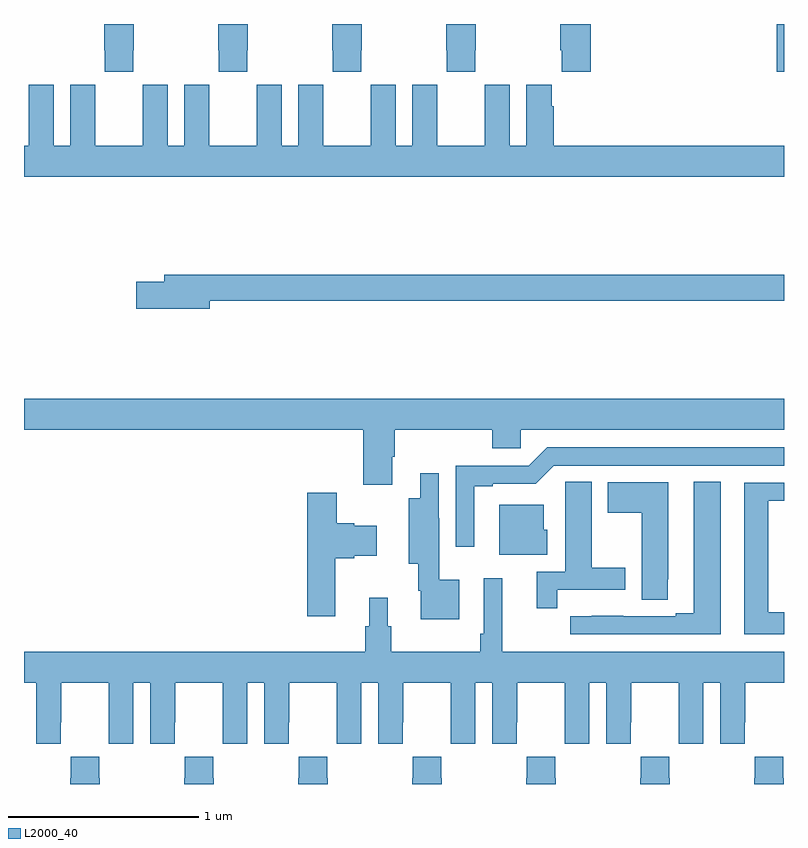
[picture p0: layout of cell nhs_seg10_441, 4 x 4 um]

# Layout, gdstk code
import gdstk
lib = gdstk.Library(unit=1e-6, precision=1e-09)
def R(c, l, rs):  # rectangles x0, y0, x1, y1
    for r in rs: c.add(gdstk.rectangle(r[:2], r[2:], *l))
def P(c, l, *ps):  # polygons
    for p in ps: c.add(gdstk.Polygon(p, *l))
L2000_40 = (2000, 40)

nhs_seg10_441 = lib.new_cell('nhs_seg10_441')
R(nhs_seg10_441, L2000_40, [(136.961,1254.249,137,1254.5)])
P(nhs_seg10_441, L2000_40, [(135.983,1254.5),(135.823,1254.5),(135.823,1254.361),(135.829,1254.361),(135.829,1254.249),(135.983,1254.249)],
  [(135.375,1254.361),(135.378,1254.361),(135.378,1254.5),(135.223,1254.5),(135.223,1254.361),(135.225,1254.361),(135.225,1254.249),(135.375,1254.249)],
  [(134.775,1254.361),(134.778,1254.361),(134.778,1254.5),(134.623,1254.5),(134.623,1254.361),(134.625,1254.361),(134.625,1254.249),(134.775,1254.249)],
  [(133.575,1254.361),(133.578,1254.361),(133.578,1254.5),(133.423,1254.5),(133.423,1254.361),(133.425,1254.361),(133.425,1254.249),(133.575,1254.249)],
  [(134.175,1254.361),(134.178,1254.361),(134.178,1254.5),(134.023,1254.5),(134.023,1254.361),(134.025,1254.361),(134.025,1254.249),(134.175,1254.249)],
  [(137,1253.86),(135.788,1253.86),(135.788,1254.068),(135.778,1254.068),(135.778,1254.181),(135.644,1254.181),(135.644,1253.86),(135.556,1253.86),(135.556,1254.181),(135.426,1254.181),(135.426,1254.068),(135.425,1254.068),(135.425,1253.86),(135.175,1253.86),(135.175,1254.068),(135.174,1254.068),(135.174,1254.181),(135.044,1254.181),(135.044,1253.86),(134.956,1253.86),(134.956,1254.181),(134.826,1254.181),(134.826,1254.068),(134.825,1254.068),(134.825,1253.86),(134.575,1253.86),(134.575,1254.068),(134.574,1254.068),(134.574,1254.181),(134.444,1254.181),(134.444,1253.86),(134.356,1253.86),(134.356,1254.181),(134.226,1254.181),(134.226,1254.068),(134.225,1254.068),(134.225,1253.86),(133.975,1253.86),(133.975,1254.068),(133.974,1254.068),(133.974,1254.181),(133.844,1254.181),(133.844,1253.86),(133.756,1253.86),(133.756,1254.181),(133.626,1254.181),(133.626,1254.068),(133.625,1254.068),(133.625,1253.86),(133.375,1253.86),(133.375,1254.068),(133.374,1254.068),(133.374,1254.181),(133.244,1254.181),(133.244,1253.86),(133.156,1253.86),(133.156,1254.181),(133.026,1254.181),(133.026,1254.068),(133.025,1254.068),(133.025,1253.86),(133,1253.86),(133,1253.696),(137,1253.696)],
  [(133.978,1253.044),(137,1253.044),(137,1253.18),(133.739,1253.18),(133.739,1253.144),(133.59,1253.144),(133.59,1253.002),(133.978,1253.002)],
  [(134.938,1252.222),(134.951,1252.222),(134.951,1252.364),(135.464,1252.364),(135.464,1252.266),(135.615,1252.266),(135.615,1252.364),(137,1252.364),(137,1252.528),(133,1252.528),(133,1252.364),(134.786,1252.364),(134.786,1252.074),(134.938,1252.074)],
  [(135.37,1252.068),(135.466,1252.068),(135.466,1252.08),(135.693,1252.08),(135.789,1252.176),(137,1252.176),(137,1252.272),(135.753,1252.272),(135.657,1252.176),(135.273,1252.176),(135.273,1251.75),(135.37,1251.75)],
  [(135.292,1251.574),(135.186,1251.574),(135.186,1251.899),(135.184,1251.899),(135.184,1252.135),(135.086,1252.135),(135.086,1252.003),(135.026,1252.003),(135.026,1251.659),(135.075,1251.659),(135.075,1251.518),(135.087,1251.518),(135.087,1251.368),(135.292,1251.368)],
  [(136.666,1252.091),(136.526,1252.091),(136.526,1251.399),(136.43,1251.399),(136.43,1251.384),(136.154,1251.384),(136.154,1251.385),(135.988,1251.385),(135.988,1251.384),(135.876,1251.384),(135.876,1251.288),(136.666,1251.288)],
  [(135.806,1251.522),(136.165,1251.522),(136.165,1251.639),(135.988,1251.639),(135.988,1252.091),(135.849,1252.091),(135.849,1251.98),(135.848,1251.98),(135.848,1251.618),(135.698,1251.618),(135.698,1251.426),(135.806,1251.426)],
  [(136.389,1251.577),(136.39,1251.577),(136.39,1252.087),(136.073,1252.087),(136.073,1251.928),(136.25,1251.928),(136.25,1251.469),(136.389,1251.469)],
  [(137,1251.404),(136.918,1251.404),(136.918,1251.99),(137,1251.99),(137,1252.086),(136.79,1252.086),(136.79,1251.288),(137,1251.288)],
  [(134.638,1251.689),(134.739,1251.689),(134.739,1251.701),(134.857,1251.701),(134.857,1251.859),(134.739,1251.859),(134.739,1251.872),(134.646,1251.872),(134.646,1252.033),(134.492,1252.033),(134.492,1251.384),(134.638,1251.384)],
  [(135.754,1251.837),(135.736,1251.837),(135.736,1251.97),(135.5,1251.97),(135.5,1251.707),(135.754,1251.707)],
  [(135.518,1251.583),(135.42,1251.583),(135.42,1251.292),(135.4,1251.292),(135.4,1251.196),(134.933,1251.196),(134.933,1251.33),(134.914,1251.33),(134.914,1251.481),(134.816,1251.481),(134.816,1251.33),(134.797,1251.33),(134.797,1251.196),(133,1251.196),(133,1251.032),(133.064,1251.032),(133.064,1250.712),(133.194,1250.712),(133.194,1250.824),(133.195,1250.824),(133.195,1251.032),(133.445,1251.032),(133.445,1250.824),(133.446,1250.824),(133.446,1250.712),(133.576,1250.712),(133.576,1251.032),(133.664,1251.032),(133.664,1250.712),(133.794,1250.712),(133.794,1250.824),(133.795,1250.824),(133.795,1251.032),(134.045,1251.032),(134.045,1250.824),(134.046,1250.824),(134.046,1250.712),(134.176,1250.712),(134.176,1251.032),(134.264,1251.032),(134.264,1250.712),(134.394,1250.712),(134.394,1250.824),(134.395,1250.824),(134.395,1251.032),(134.645,1251.032),(134.645,1250.824),(134.646,1250.824),(134.646,1250.712),(134.776,1250.712),(134.776,1251.032),(134.864,1251.032),(134.864,1250.712),(134.994,1250.712),(134.994,1250.824),(134.995,1250.824),(134.995,1251.032),(135.245,1251.032),(135.245,1250.824),(135.246,1250.824),(135.246,1250.712),(135.376,1250.712),(135.376,1251.032),(135.464,1251.032),(135.464,1250.712),(135.594,1250.712),(135.594,1250.824),(135.595,1250.824),(135.595,1251.032),(135.845,1251.032),(135.845,1250.824),(135.846,1250.824),(135.846,1250.712),(135.976,1250.712),(135.976,1251.032),(136.064,1251.032),(136.064,1250.712),(136.194,1250.712),(136.194,1250.824),(136.195,1250.824),(136.195,1251.032),(136.445,1251.032),(136.445,1250.824),(136.446,1250.824),(136.446,1250.712),(136.576,1250.712),(136.576,1251.032),(136.664,1251.032),(136.664,1250.712),(136.794,1250.712),(136.794,1250.824),(136.795,1250.824),(136.795,1251.032),(137,1251.032),(137,1251.196),(135.518,1251.196)],
  [(133.398,1250.531),(133.395,1250.531),(133.395,1250.644),(133.245,1250.644),(133.245,1250.531),(133.243,1250.531),(133.243,1250.5),(133.398,1250.5)],
  [(135.798,1250.531),(135.795,1250.531),(135.795,1250.644),(135.645,1250.644),(135.645,1250.531),(135.643,1250.531),(135.643,1250.5),(135.798,1250.5)],
  [(134.598,1250.531),(134.595,1250.531),(134.595,1250.644),(134.445,1250.644),(134.445,1250.531),(134.443,1250.531),(134.443,1250.5),(134.598,1250.5)],
  [(133.998,1250.531),(133.995,1250.531),(133.995,1250.644),(133.845,1250.644),(133.845,1250.531),(133.843,1250.531),(133.843,1250.5),(133.998,1250.5)],
  [(136.398,1250.531),(136.395,1250.531),(136.395,1250.644),(136.245,1250.644),(136.245,1250.531),(136.243,1250.531),(136.243,1250.5),(136.398,1250.5)],
  [(136.998,1250.531),(136.995,1250.531),(136.995,1250.644),(136.845,1250.644),(136.845,1250.531),(136.843,1250.531),(136.843,1250.5),(136.998,1250.5)],
  [(135.045,1250.644),(135.045,1250.531),(135.043,1250.531),(135.043,1250.5),(135.198,1250.5),(135.198,1250.531),(135.195,1250.531),(135.195,1250.644)])

lib.write_gds('nhs_seg10_441.gds')
